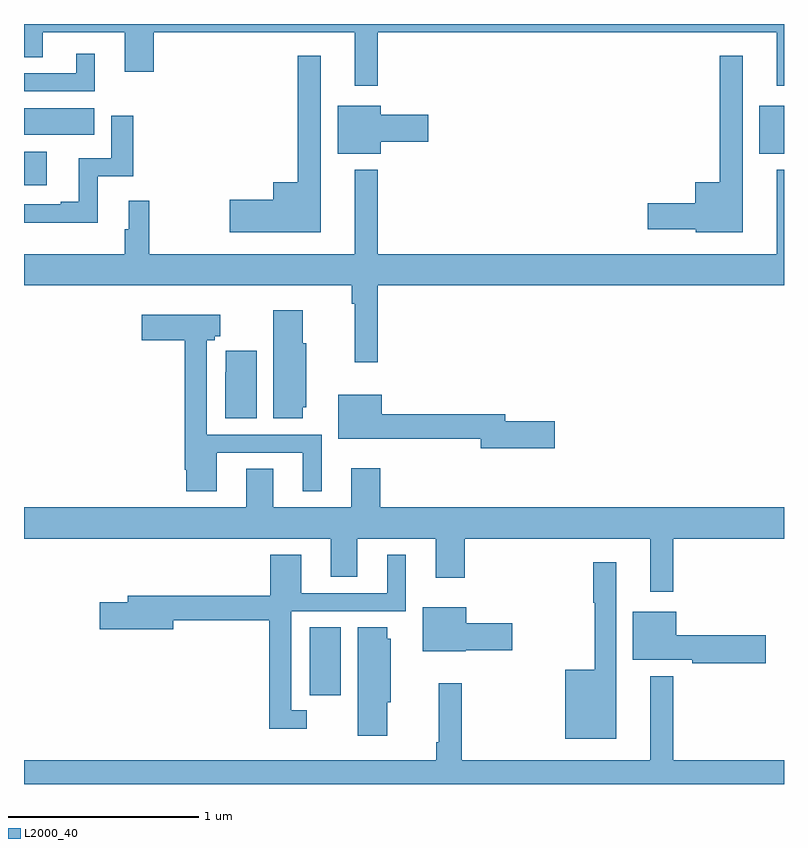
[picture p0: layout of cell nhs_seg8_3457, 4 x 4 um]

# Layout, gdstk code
import gdstk
lib = gdstk.Library(unit=1e-6, precision=1e-09)
def R(c, l, rs):  # rectangles x0, y0, x1, y1
    for r in rs: c.add(gdstk.rectangle(r[:2], r[2:], *l))
def P(c, l, *ps):  # polygons
    for p in ps: c.add(gdstk.Polygon(p, *l))
L2000_40 = (2000, 40)

nhs_seg8_3457 = lib.new_cell('nhs_seg8_3457')
R(nhs_seg8_3457, L2000_40, [(326.504,1090.368,326.668,1090.724), (325,1093.052,325.12,1093.228), (328.871,1093.217,329,1093.471), (325,1093.316,325.369,1093.456)])
P(nhs_seg8_3457, L2000_40, [(326.863,1093.856),(328.961,1093.856),(328.961,1093.575),(329,1093.575),(329,1093.9),(325,1093.9),(325,1093.726),(325.099,1093.726),(325.099,1093.856),(325.529,1093.856),(325.529,1093.65),(325.682,1093.65),(325.682,1093.856),(326.741,1093.856),(326.741,1093.575),(326.863,1093.575)],
  [(325.372,1093.744),(325.274,1093.744),(325.274,1093.641),(325,1093.641),(325,1093.545),(325.372,1093.545)],
  [(328.783,1093.732),(328.662,1093.732),(328.662,1093.066),(328.532,1093.066),(328.532,1092.956),(328.284,1092.956),(328.284,1092.821),(328.536,1092.821),(328.536,1092.803),(328.783,1092.803)],
  [(326.563,1093.732),(326.442,1093.732),(326.442,1093.066),(326.312,1093.066),(326.312,1092.974),(326.082,1092.974),(326.082,1092.803),(326.563,1092.803)],
  [(326.878,1093.28),(327.127,1093.28),(327.127,1093.422),(326.878,1093.422),(326.878,1093.471),(326.651,1093.471),(326.651,1093.217),(326.878,1093.217)],
  [(325.387,1093.098),(325.574,1093.098),(325.574,1093.417),(325.458,1093.417),(325.458,1093.194),(325.289,1093.194),(325.289,1092.964),(325.193,1092.964),(325.193,1092.951),(325,1092.951),(325,1092.854),(325.387,1092.854)],
  [(326.861,1092.524),(329,1092.524),(329,1093.132),(328.961,1093.132),(328.961,1092.688),(326.863,1092.688),(326.863,1093.132),(326.741,1093.132),(326.741,1092.688),(325.66,1092.688),(325.66,1092.97),(325.55,1092.97),(325.55,1092.821),(325.531,1092.821),(325.531,1092.688),(325,1092.688),(325,1092.524),(326.725,1092.524),(326.725,1092.428),(326.74,1092.428),(326.74,1092.12),(326.861,1092.12)],
  [(326.467,1091.883),(326.485,1091.883),(326.485,1092.219),(326.467,1092.219),(326.467,1092.394),(326.312,1092.394),(326.312,1091.824),(326.467,1091.824)],
  [(326.014,1091.643),(326.468,1091.643),(326.468,1091.442),(326.566,1091.442),(326.566,1091.739),(325.962,1091.739),(325.962,1092.236),(326.004,1092.236),(326.004,1092.256),(326.033,1092.256),(326.033,1092.37),(325.62,1092.37),(325.62,1092.236),(325.846,1092.236),(325.846,1091.554),(325.853,1091.554),(325.853,1091.442),(326.014,1091.442)],
  [(326.224,1092.181),(326.063,1092.181),(326.063,1092.068),(326.06,1092.068),(326.06,1091.824),(326.224,1091.824)],
  [(327.793,1091.81),(327.532,1091.81),(327.532,1091.846),(326.884,1091.846),(326.884,1091.95),(326.654,1091.95),(326.654,1091.717),(326.98,1091.717),(326.98,1091.718),(327.404,1091.718),(327.404,1091.668),(327.793,1091.668)],
  [(328.417,1091.192),(329,1091.192),(329,1091.356),(326.876,1091.356),(326.876,1091.563),(326.723,1091.563),(326.723,1091.356),(326.311,1091.356),(326.311,1091.558),(326.171,1091.558),(326.171,1091.356),(325,1091.356),(325,1091.192),(326.615,1091.192),(326.615,1090.99),(326.755,1090.99),(326.755,1091.192),(327.167,1091.192),(327.167,1090.986),(327.32,1090.986),(327.32,1091.192),(328.295,1091.192),(328.295,1090.911),(328.417,1090.911)],
  [(326.488,1090.287),(326.406,1090.287),(326.406,1090.809),(327.01,1090.809),(327.01,1091.107),(326.912,1091.107),(326.912,1090.905),(326.458,1090.905),(326.458,1091.107),(326.297,1091.107),(326.297,1090.891),(325.547,1090.891),(325.547,1090.857),(325.398,1090.857),(325.398,1090.715),(325.786,1090.715),(325.786,1090.762),(326.29,1090.762),(326.29,1090.19),(326.488,1090.19)],
  [(328.117,1091.068),(327.996,1091.068),(327.996,1090.855),(328.003,1090.855),(328.003,1090.501),(327.848,1090.501),(327.848,1090.139),(328.117,1090.139)],
  [(327.324,1090.604),(327.571,1090.604),(327.571,1090.746),(327.328,1090.746),(327.328,1090.831),(327.098,1090.831),(327.098,1090.598),(327.324,1090.598)],
  [(328.903,1090.682),(328.432,1090.682),(328.432,1090.807),(328.205,1090.807),(328.205,1090.553),(328.518,1090.553),(328.518,1090.535),(328.903,1090.535)],
  [(326.911,1090.329),(326.929,1090.329),(326.929,1090.665),(326.911,1090.665),(326.911,1090.724),(326.756,1090.724),(326.756,1090.155),(326.911,1090.155)],
  [(329,1090.024),(328.417,1090.024),(328.417,1090.468),(328.295,1090.468),(328.295,1090.024),(327.305,1090.024),(327.305,1090.429),(327.184,1090.429),(327.184,1090.12),(327.169,1090.12),(327.169,1090.024),(325,1090.024),(325,1089.9),(329,1089.9)])

lib.write_gds('nhs_seg8_3457.gds')
